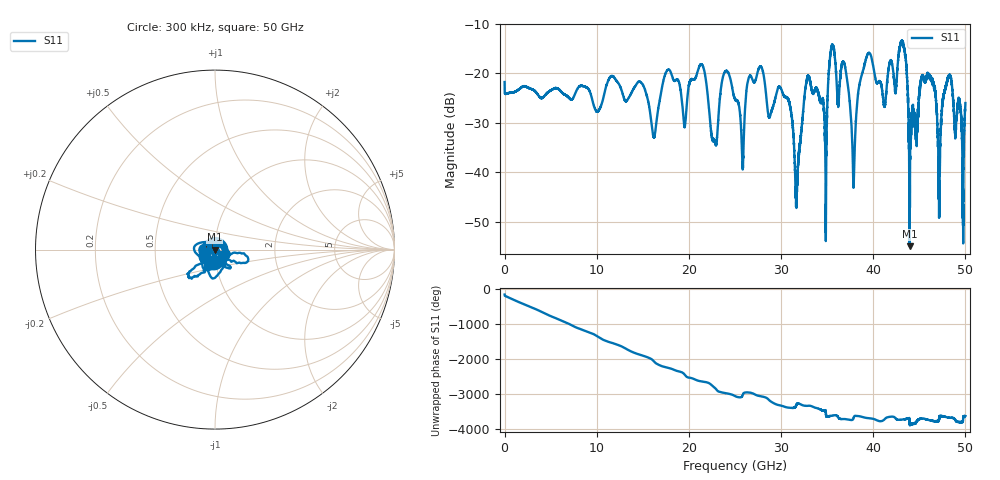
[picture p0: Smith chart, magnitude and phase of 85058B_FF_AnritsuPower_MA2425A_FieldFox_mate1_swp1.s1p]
!Created with skrf (http://scikit-rf.org).
# Hz S RI R 50.0
!freq ReS11 ImS11
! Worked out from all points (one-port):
!   10001 points, 300 kHz to 50 GHz, reference 50 ohm
!   lowest |S11| = -55.0 dB at 43.95 GHz (marker M1), VSWR 1.00, Z = 49.8 - j0.0282 ohm
!   |S11| at or under -10 dB: start of sweep to end of sweep
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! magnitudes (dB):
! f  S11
! 300 kHz  -21.7
! 6.25 GHz  -23.9
! 12.5 GHz  -22.5
! 16.2 GHz  -33.0
! 18.75 GHz  -21.3
! 19.54 GHz  -30.8
! 21.46 GHz  -18.3
! 22.78 GHz  -33.7
! 23.86 GHz  -19.9
! 25 GHz  -25.2
! 25.83 GHz  -38.8
! 27.79 GHz  -18.6
! 31.25 GHz  -30.6
! 31.74 GHz  -41.7
! 32.97 GHz  -20.5
! 34.82 GHz  -38.4
! 35.57 GHz  -14.4
! 37.5 GHz  -26.8
! 37.89 GHz  -42.3
! 39.34 GHz  -16.3
! 41.21 GHz  -26.7
! 43.11 GHz  -13.6
! 43.75 GHz  -24.4
! 43.95 GHz  -55.0
! 46 GHz  -20.3
! 47.15 GHz  -49.2
! 48.21 GHz  -20.5
! 50 GHz  -26.0
